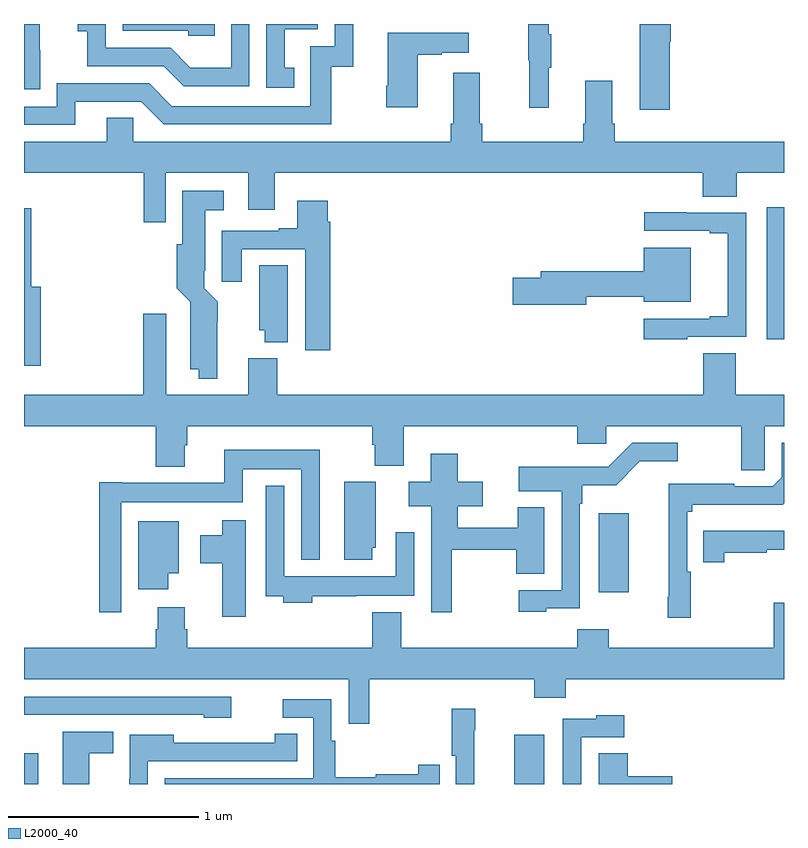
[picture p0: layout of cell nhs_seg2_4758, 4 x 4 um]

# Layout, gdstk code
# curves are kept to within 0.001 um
import gdstk
lib = gdstk.Library(unit=1e-6, precision=1e-09)
def R(c, l, rs):  # rectangles x0, y0, x1, y1
    for r in rs: c.add(gdstk.rectangle(r[:2], r[2:], *l))
def P(c, l, *ps):  # polygons
    for p in ps: c.add(gdstk.Polygon(p, *l))
L2000_40 = (2000, 40)

nhs_seg2_4758 = lib.new_cell('nhs_seg2_4758')
R(nhs_seg2_4758, L2000_40, [(371,597.8,371.076,597.963), (373.58,597.8,373.738,598.06), (374.024,598.809,374.182,599.224), (374.909,600.141,375,600.835)])
P(nhs_seg2_4758, L2000_40, [(372.005,601.8),(371.52,601.8),(371.52,601.764),(371.865,601.764),(371.865,601.737),(372.005,601.737)],
  [(372.422,601.569),(372.373,601.569),(372.373,601.773),(372.546,601.773),(372.546,601.8),(372.276,601.8),(372.276,601.464),(372.422,601.464)],
  [(371.085,601.663),(371.084,601.663),(371.084,601.8),(371,601.8),(371,601.457),(371.085,601.457)],
  [(372.186,601.8),(372.09,601.8),(372.09,601.57),(371.876,601.57),(371.772,601.674),(371.43,601.674),(371.43,601.8),(371.283,601.8),(371.283,601.763),(371.332,601.763),(371.332,601.578),(371.735,601.578),(371.84,601.473),(372.186,601.473)],
  [(373.763,601.571),(373.774,601.571),(373.774,601.745),(373.763,601.745),(373.763,601.8),(373.653,601.8),(373.653,601.608),(373.66,601.608),(373.66,601.359),(373.763,601.359)],
  [(374.399,601.707),(374.404,601.707),(374.404,601.8),(374.24,601.8),(374.24,601.35),(374.399,601.35)],
  [(371.269,601.392),(371.616,601.392),(371.736,601.272),(372.616,601.272),(372.616,601.575),(372.734,601.575),(372.734,601.8),(372.636,601.8),(372.636,601.683),(372.507,601.683),(372.507,601.368),(371.778,601.368),(371.658,601.488),(371.172,601.488),(371.172,601.365),(371,601.365),(371,601.269),(371.269,601.269)],
  [(373.072,601.639),(373.199,601.639),(373.199,601.649),(373.342,601.649),(373.342,601.753),(372.914,601.753),(372.914,601.474),(372.907,601.474),(372.907,601.362),(373.072,601.362)],
  [(371.745,601.016),(372.179,601.016),(372.179,600.822),(372.319,600.822),(372.319,601.016),(374.573,601.016),(374.573,600.892),(374.75,600.892),(374.75,601.016),(375,601.016),(375,601.18),(374.108,601.18),(374.108,601.276),(374.095,601.276),(374.095,601.501),(373.955,601.501),(373.955,601.276),(373.943,601.276),(373.943,601.18),(373.412,601.18),(373.412,601.276),(373.399,601.276),(373.399,601.543),(373.259,601.543),(373.259,601.276),(373.247,601.276),(373.247,601.18),(371.574,601.18),(371.574,601.307),(371.435,601.307),(371.435,601.18),(371,601.18),(371,601.016),(371.629,601.016),(371.629,600.756),(371.745,600.756)],
  [(372.018,600.236),(372.019,600.338),(371.949,600.408),(371.949,600.502),(371.953,600.502),(371.953,600.821),(372.052,600.821),(372.052,600.922),(371.834,600.922),(371.834,600.642),(371.804,600.642),(371.804,600.41),(371.876,600.338),(371.876,599.984),(371.921,599.984),(371.921,599.933),(372.018,599.933)],
  [(372.611,600.758),(372.598,600.758),(372.598,600.871),(372.437,600.871),(372.437,600.724),(372.341,600.724),(372.341,600.711),(372.041,600.711),(372.041,600.444),(372.145,600.444),(372.145,600.615),(372.479,600.615),(372.479,600.084),(372.611,600.084)],
  [(371.087,600.418),(371.039,600.418),(371.039,600.829),(371,600.829),(371,600.002),(371.087,600.002)],
  [(374.492,600.153),(374.802,600.153),(374.802,600.807),(374.489,600.807),(374.489,600.809),(374.265,600.809),(374.265,600.711),(374.609,600.711),(374.609,600.699),(374.705,600.699),(374.705,600.262),(374.609,600.262),(374.609,600.249),(374.262,600.249),(374.262,600.141),(374.492,600.141)],
  [(373.96,600.364),(374.261,600.364),(374.261,600.338),(374.509,600.338),(374.509,600.622),(374.261,600.622),(374.261,600.5),(373.721,600.5),(373.721,600.464),(373.572,600.464),(373.572,600.322),(373.96,600.322)],
  [(372.388,600.53),(372.239,600.53),(372.239,600.189),(372.266,600.189),(372.266,600.125),(372.388,600.125)],
  [(374.898,599.684),(375,599.684),(375,599.848),(374.747,599.848),(374.747,600.068),(374.576,600.068),(374.576,599.848),(372.332,599.848),(372.332,600.04),(372.179,600.04),(372.179,599.848),(371.749,599.848),(371.749,600.274),(371.627,600.274),(371.627,599.848),(371,599.848),(371,599.684),(371.693,599.684),(371.693,599.471),(371.845,599.471),(371.845,599.583),(371.858,599.583),(371.858,599.684),(372.833,599.684),(372.833,599.585),(372.845,599.585),(372.845,599.476),(372.998,599.476),(372.998,599.684),(373.913,599.684),(373.913,599.591),(374.064,599.591),(374.064,599.684),(374.776,599.684),(374.776,599.452),(374.898,599.452)],
  [(373.749,598.725),(373.926,598.725),(373.926,599.276),(373.939,599.276),(373.939,599.372),(374.116,599.372),(374.242,599.498),(374.44,599.498),(374.44,599.595),(374.201,599.595),(374.075,599.469),(373.605,599.47),(373.605,599.342),(373.83,599.342),(373.83,598.821),(373.605,598.821),(373.605,598.706),(373.749,598.706)],
  [(374.51,598.918),(374.49,598.918),(374.49,599.232),(374.518,599.232),(374.518,599.27),(374.993,599.27),(375,599.277),(375,599.595),(374.988,599.595),(374.988,599.415),(374.94,599.367),(374.737,599.367),(374.737,599.38),(374.393,599.38),(374.393,598.786),(374.387,598.786),(374.387,598.674),(374.51,598.674)],
  [(371.511,599.282),(372.15,599.282),(372.15,599.456),(372.459,599.456),(372.459,598.979),(372.556,598.979),(372.556,599.56),(372.053,599.56),(372.053,599.386),(371.518,599.386),(371.518,599.389),(371.395,599.389),(371.395,598.704),(371.511,598.704)],
  [(373.252,599.032),(373.591,599.032),(373.591,598.906),(373.738,598.906),(373.738,599.257),(373.598,599.257),(373.598,599.148),(373.284,599.148),(373.284,599.261),(373.414,599.261),(373.414,599.391),(373.284,599.391),(373.284,599.539),(373.142,599.539),(373.142,599.391),(373.025,599.391),(373.025,599.261),(373.143,599.261),(373.143,598.704),(373.252,598.704)],
  [(372.832,599.043),(372.85,599.043),(372.85,599.391),(372.686,599.391),(372.686,598.98),(372.832,598.98)],
  [(372.518,598.788),(372.749,598.788),(372.749,598.79),(373.053,598.79),(373.053,599.125),(372.957,599.125),(372.957,598.894),(372.369,598.894),(372.369,599.371),(372.273,599.371),(372.273,598.788),(372.365,598.788),(372.365,598.754),(372.518,598.754)],
  [(372.166,599.188),(372.044,599.188),(372.044,599.11),(371.927,599.11),(371.927,598.963),(372.044,598.963),(372.044,598.68),(372.166,598.68)],
  [(371.758,598.91),(371.815,598.91),(371.815,599.182),(371.6,599.182),(371.6,598.824),(371.758,598.824)],
  [(374.686,599.017),(374.91,599.017),(374.91,599.032),(375,599.032),(375,599.134),(374.575,599.134),(374.575,598.968),(374.686,598.968)],
  [(372.817,598.352),(373.685,598.352),(373.685,598.253),(373.85,598.253),(373.85,598.352),(375,598.352),(375,598.753),(374.946,598.753),(374.946,598.516),(374.078,598.516),(374.078,598.615),(373.913,598.615),(373.913,598.516),(372.985,598.516),(372.985,598.705),(372.833,598.705),(372.833,598.516),(371.858,598.516),(371.858,598.614),(371.845,598.614),(371.845,598.729),(371.705,598.729),(371.705,598.614),(371.693,598.614),(371.693,598.516),(371,598.516),(371,598.352),(372.708,598.352),(372.708,598.116),(372.817,598.116)],
  [(372.091,598.26),(371,598.26),(371,598.164),(371.946,598.164),(371.946,598.148),(372.091,598.148)],
  [(373.187,597.901),(373.076,597.901),(373.076,597.851),(372.852,597.851),(372.852,597.836),(372.638,597.836),(372.638,598.028),(372.618,598.028),(372.618,598.245),(372.363,598.245),(372.363,598.149),(372.522,598.149),(372.522,597.831),(371.742,597.831),(371.742,597.8),(373.187,597.8)],
  [(373.37,598.082),(373.376,598.082),(373.376,598.195),(373.252,598.195),(373.252,597.95),(373.272,597.95),(373.272,597.8),(373.37,597.8)],
  [(373.932,598.047),(374.158,598.047),(374.158,598.162),(374.013,598.162),(374.013,598.143),(373.836,598.143),(373.836,597.8),(373.932,597.8)],
  [(371.344,597.961),(371.471,597.961),(371.471,598.075),(371.204,598.075),(371.204,597.8),(371.344,597.8)],
  [(371.652,597.921),(372.437,597.921),(372.437,598.064),(372.319,598.064),(372.319,598.018),(371.788,598.018),(371.788,598.06),(371.556,598.06),(371.556,597.824),(371.555,597.824),(371.555,597.8),(371.652,597.8)],
  [(374.413,597.842),(374.177,597.842),(374.177,597.962),(374.024,597.962),(374.024,597.8),(374.413,597.8)])

lib.write_gds('nhs_seg2_4758.gds')
